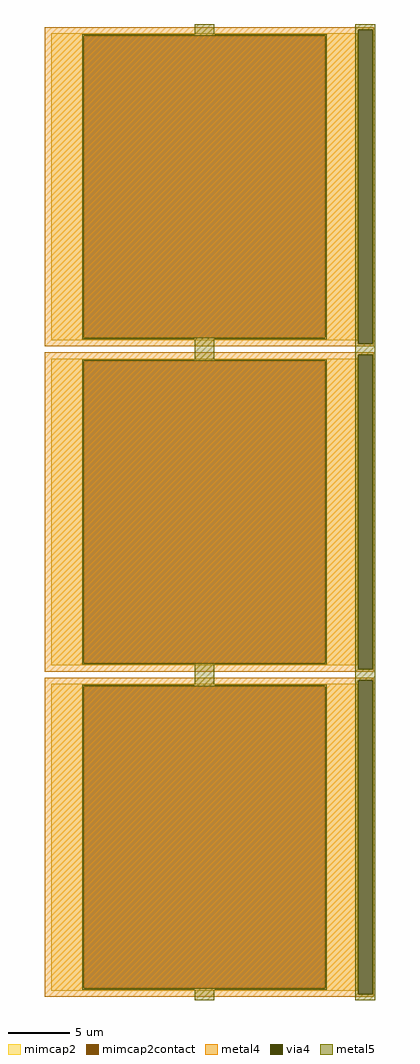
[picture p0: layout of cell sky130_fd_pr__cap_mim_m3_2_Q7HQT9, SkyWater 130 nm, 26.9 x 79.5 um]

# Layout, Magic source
magic
tech sky130A
magscale 1 2
<< metal4 >>
rect -2679 7859 2679 7900
rect -2679 2741 2423 7859
rect 2659 2741 2679 7859
rect -2679 2700 2679 2741
rect -2679 2559 2679 2600
rect -2679 -2559 2423 2559
rect 2659 -2559 2679 2559
rect -2679 -2600 2679 -2559
rect -2679 -2741 2679 -2700
rect -2679 -7859 2423 -2741
rect 2659 -7859 2679 -2741
rect -2679 -7900 2679 -7859
<< via4 >>
rect 2423 2741 2659 7859
rect 2423 -2559 2659 2559
rect 2423 -7859 2659 -2741
<< mimcap2 >>
rect -2579 7760 2421 7800
rect -2579 2840 -2047 7760
rect 1889 2840 2421 7760
rect -2579 2800 2421 2840
rect -2579 2460 2421 2500
rect -2579 -2460 -2047 2460
rect 1889 -2460 2421 2460
rect -2579 -2500 2421 -2460
rect -2579 -2840 2421 -2800
rect -2579 -7760 -2047 -2840
rect 1889 -7760 2421 -2840
rect -2579 -7800 2421 -7760
<< mimcap2contact >>
rect -2047 2840 1889 7760
rect -2047 -2460 1889 2460
rect -2047 -7760 1889 -2840
<< metal5 >>
rect -239 7784 81 7950
rect 2381 7859 2701 7950
rect -2071 7760 1913 7784
rect -2071 2840 -2047 7760
rect 1889 2840 1913 7760
rect -2071 2816 1913 2840
rect -239 2484 81 2816
rect 2381 2741 2423 7859
rect 2659 2741 2701 7859
rect 2381 2559 2701 2741
rect -2071 2460 1913 2484
rect -2071 -2460 -2047 2460
rect 1889 -2460 1913 2460
rect -2071 -2484 1913 -2460
rect -239 -2816 81 -2484
rect 2381 -2559 2423 2559
rect 2659 -2559 2701 2559
rect 2381 -2741 2701 -2559
rect -2071 -2840 1913 -2816
rect -2071 -7760 -2047 -2840
rect 1889 -7760 1913 -2840
rect -2071 -7784 1913 -7760
rect -239 -7950 81 -7784
rect 2381 -7859 2423 -2741
rect 2659 -7859 2701 -2741
rect 2381 -7950 2701 -7859
<< properties >>
string FIXED_BBOX -2679 2700 2521 7900
string gencell sky130_fd_pr__cap_mim_m3_2
string library sky130
string parameters w 25 l 25 val 1.269k carea 2.00 cperi 0.19 nx 1 ny 3 dummy 0 square 0 lmin 2.00 wmin 2.00 lmax 30.0 wmax 30.0 dc 0 bconnect 1 tconnect 1 ccov 80
<< end >>
